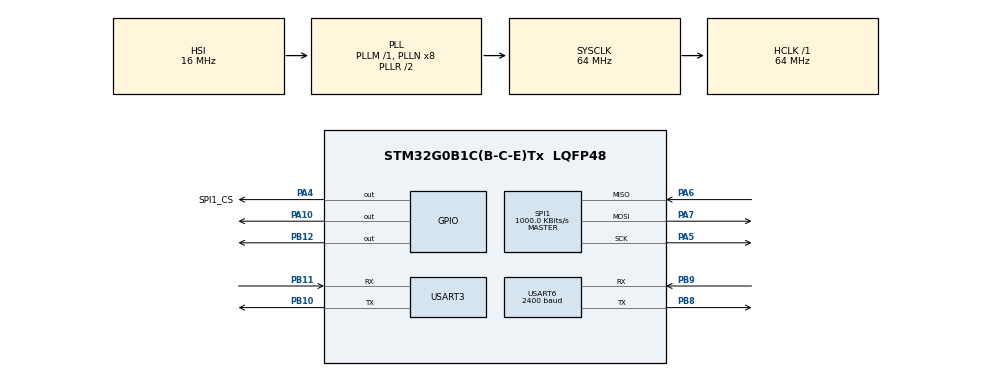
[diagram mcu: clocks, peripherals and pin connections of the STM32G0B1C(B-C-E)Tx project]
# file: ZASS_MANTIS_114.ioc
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Dma.Request0=USART6_RX
Dma.USART6_RX.0.Direction=DMA_PERIPH_TO_MEMORY
Dma.USART6_RX.0.EventEnable=DISABLE
Dma.USART6_RX.0.Instance=DMA1_Channel1
Dma.USART6_RX.0.MemDataAlignment=DMA_MDATAALIGN_BYTE
Dma.USART6_RX.0.MemInc=DMA_MINC_ENABLE
Dma.USART6_RX.0.Mode=DMA_CIRCULAR
Dma.USART6_RX.0.PeriphDataAlignment=DMA_PDATAALIGN_BYTE
Dma.USART6_RX.0.PeriphInc=DMA_PINC_DISABLE
Dma.USART6_RX.0.Polarity=HAL_DMAMUX_REQ_GEN_RISING
Dma.USART6_RX.0.Priority=DMA_PRIORITY_LOW
Dma.USART6_RX.0.RequestNumber=1
Dma.USART6_RX.0.SignalID=NONE
Dma.USART6_RX.0.SyncEnable=DISABLE
Dma.USART6_RX.0.SyncPolarity=HAL_DMAMUX_SYNC_NO_EVENT
Dma.USART6_RX.0.SyncRequestNumber=1
Dma.USART6_RX.0.SyncSignalID=NONE
FATFS._USE_LABEL=1
FATFS._USE_LFN=3
FREERTOS.Tasks01=defaultTask,24,256,StartDefaultTask,Default,NULL,Dynamic,NULL,NULL;myTask02,8,2048,StartTask02,Default,NULL,Dynamic,NULL,NULL
FREERTOS.configTOTAL_HEAP_SIZE=20480
Mcu.Family=STM32G0
Mcu.Name=STM32G0B1C(B-C-E)Tx
Mcu.Package=LQFP48
NVIC.DMA1_Channel1_IRQn=true\:3\:0\:false\:false\:true\:true\:false\:true\:true
NVIC.TIM2_IRQn=true\:3\:0\:false\:false\:true\:false\:false\:true\:true
NVIC.TimeBase=TIM2_IRQn
NVIC.TimeBaseIP=TIM2
NVIC.USART3_4_5_6_LPUART1_IRQn=true\:3\:0\:false\:false\:true\:true\:true\:true\:true
PA10.Signal=GPIO_Output
PA13.Mode=Serial_Wire
PA13.Signal=SYS_SWDIO
PA14-BOOT0.Mode=Serial_Wire
PA14-BOOT0.Signal=SYS_SWCLK
PA4.GPIO_Label=SPI1_CS
PA4.GPIO_Speed=GPIO_SPEED_FREQ_VERY_HIGH
PA4.Signal=GPIO_Output
PA5.GPIO_Speed=GPIO_SPEED_FREQ_VERY_HIGH
PA5.Mode=Full_Duplex_Master
PA5.Signal=SPI1_SCK
PA6.GPIO_Speed=GPIO_SPEED_FREQ_VERY_HIGH
PA6.Mode=Full_Duplex_Master
PA6.Signal=SPI1_MISO
PA7.GPIO_Speed=GPIO_SPEED_FREQ_VERY_HIGH
PA7.Mode=Full_Duplex_Master
PA7.Signal=SPI1_MOSI
PB10.Mode=Asynchronous
PB10.Signal=USART3_TX
PB11.Mode=Asynchronous
PB11.Signal=USART3_RX
PB12.Signal=GPIO_Output
PB8.Mode=Asynchronous
PB8.Signal=USART6_TX
PB9.Mode=Asynchronous
PB9.Signal=USART6_RX
PC14-OSC32_IN\ (PC14).Mode=LSE-External-Oscillator
PC14-OSC32_IN\ (PC14).Signal=RCC_OSC32_IN
PC15-OSC32_OUT\ (PC15).Mode=LSE-External-Oscillator
PC15-OSC32_OUT\ (PC15).Signal=RCC_OSC32_OUT
PF0-OSC_IN\ (PF0).Mode=HSE-External-Oscillator
PF0-OSC_IN\ (PF0).Signal=RCC_OSC_IN
PF1-OSC_OUT\ (PF1).Mode=HSE-External-Oscillator
PF1-OSC_OUT\ (PF1).Signal=RCC_OSC_OUT
ProjectManager.HeapSize=0x200
ProjectManager.StackSize=0x400
ProjectManager.TargetToolchain=STM32CubeIDE
RCC.ADCFreq_Value=64000000
RCC.AHBFreq_Value=64000000
RCC.CortexFreq_Value=64000000
RCC.EXTERNAL_CLOCK_VALUE=48000
RCC.HCLKFreq_Value=64000000
RCC.HSE_VALUE=24000000
RCC.HSI48_VALUE=48000000
RCC.HSI_VALUE=16000000
RCC.SYSCLKFreq_VALUE=64000000
RCC.SYSCLKSource=RCC_SYSCLKSOURCE_PLLCLK
RCC.USBFreq_Value=48000000
RCC.VCOOutputFreq_Value=128000000
SPI1.BaudRatePrescaler=SPI_BAUDRATEPRESCALER_64
SPI1.CalculateBaudRate=1000.0 KBits/s
SPI1.DataSize=SPI_DATASIZE_8BIT
SPI1.Direction=SPI_DIRECTION_2LINES
SPI1.Mode=SPI_MODE_MASTER
SPI1.VirtualType=VM_MASTER
USART3.VirtualMode-Asynchronous=VM_ASYNC
USART6.BaudRate=2400
USART6.SwapParam=ADVFEATURE_SWAP_DISABLE
USART6.VirtualMode-Asynchronous=VM_ASYNC
VP_FATFS_VS_Generic.Mode=User_defined
VP_FREERTOS_VS_CMSIS_V2.Mode=CMSIS_V2
VP_RTC_VS_RTC_Activate.Mode=RTC_Enabled
VP_SYS_VS_DBSignals.Mode=DisableDeadBatterySignals
VP_SYS_VS_tim2.Mode=TIM2
board=custom

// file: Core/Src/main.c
/* USER CODE BEGIN Header */
/**
  ******************************************************************************
  * @file           : main.c
  * @brief          : Main program body
  ******************************************************************************
  * @attention
  *
  * Copyright (c) 2026 STMicroelectronics.
  * All rights reserved.
  *
  * This software is licensed under terms that can be found in the LICENSE file
  * in the root directory of this software component.
  * If no LICENSE file comes with this software, it is provided AS-IS.
  *
  ******************************************************************************
  */
/* USER CODE END Header */
#include "main.h"
#include "cmsis_os.h"
#include "app_fatfs.h"

/* USER CODE BEGIN Includes */
#include "stdint.h"
#include "stdbool.h"
#include "string.h"

/* USER CODE END Includes */

/* USER CODE BEGIN PD */
#define BMS_VOLT_MIN 16.0f
#define BMS_VOLT_MAX 30.0f
volatile uint8_t  bms_data_ready;    /* yeni cozulmus veri var */
volatile uint8_t  bms_dump_ready;    /* yeni ham paket var (dump icin) */
volatile uint8_t  bms_data_valid;    /* en az bir GECERLI (sifir-olmayan) paket geldi */
volatile uint32_t bms_last_rx_ms;    /* son gecerli paketin HAL_GetTick() zamani */

/* USER CODE END PD */

RTC_HandleTypeDef hrtc;

SPI_HandleTypeDef hspi1;

UART_HandleTypeDef huart3;
UART_HandleTypeDef huart6;
DMA_HandleTypeDef hdma_usart6_rx;

/* Definitions for defaultTask */
osThreadId_t defaultTaskHandle;
const osThreadAttr_t defaultTask_attributes = {
  .name = "defaultTask",
  .priority = (osPriority_t) osPriorityNormal,
  .stack_size = 256 * 4
};
/* Definitions for myTask02 */
osThreadId_t myTask02Handle;
const osThreadAttr_t myTask02_attributes = {
  .name = "myTask02",
  .priority = (osPriority_t) osPriorityLow,
  .stack_size = 2048 * 4
};
/* USER CODE BEGIN PV */
RTC_DateTypeDef sDate;
RTC_TimeTypeDef sTime;
/* USER CODE END PV */

void SystemClock_Config(void);
static void MX_GPIO_Init(void);
static void MX_DMA_Init(void);
static void MX_SPI1_Init(void);
static void MX_RTC_Init(void);
static void MX_USART3_UART_Init(void);
static void MX_USART6_UART_Init(void);
void StartDefaultTask(void *argument);
void StartTask02(void *argument);

/* USER CODE BEGIN PFP */
// JK BMS "Tüm Verileri Oku" sihirli dizisi

/* USER CODE END PFP */

/* USER CODE BEGIN 0 */
/* USER CODE BEGIN PTD */
// JK BMS'den gelen anlamlı verileri tutacağımız yapı (Struct)
void battery_screen_task(void);

// Durum makinesi (State Machine) adımları
typedef enum {
    WAIT_A5, WAIT_5A, WAIT_5D, WAIT_82, WAIT_10, WAIT_00, RECEIVE_PAYLOAD
} BMS_State;
/* USER CODE END PTD */

/* USER CODE BEGIN PV */
uint16_t BMS = 0;
#define RX_BUF_SIZE 256
uint8_t dma_rx_buf[RX_BUF_SIZE];
#define BMS_PAYLOAD_LENGTH 90
float gercek_akim;
uint16_t CurentCounter ;
uint8_t isFirstStart = 0;
JK_BMS_Data my_bms;              // Her yerden erişebileceğimiz asıl BMS verimiz
BMS_State bms_state = WAIT_A5;   // Başlangıç durumu

uint8_t rx_byte;                 // Anlık okunan 1 byte
uint8_t bms_payload[BMS_PAYLOAD_LENGTH]; // Yakalanan 90 bytelık ana veri
uint16_t payload_index = 0;
volatile uint8_t bms_data_ready = 0;     // Ana döngüye haber verecek bayrak
uint8_t x;
uint8_t dma_raw_buffer[256]; // DMA'nın ham veri karalama defteri
   // Asla kaymayan, jilet gibi sabit dizimiz
volatile uint8_t packet_count = 0; // Kaç tane sağlam paket yakaladık (Debug için)
/* USER CODE END 0 */

int main(void)
{

  /* MCU Configuration--------------------------------------------------------*/

  /* Reset of all peripherals, Initializes the Flash interface and the Systick. */
  HAL_Init();

  /* Configure the system clock */
  SystemClock_Config();

  /* Initialize all configured peripherals */
  MX_GPIO_Init();
  MX_DMA_Init();
  MX_SPI1_Init();
  MX_RTC_Init();
  if (MX_FATFS_Init() != APP_OK) {
    Error_Handler();
  }
  MX_USART3_UART_Init();
  MX_USART6_UART_Init();
  /* USER CODE BEGIN 2 */
  // HAL_UART_Receive_IT(&huart6, &rx_byte, 1);
  HAL_GPIO_WritePin(GPIOA, GPIO_PIN_10, RESET);
// UART Idle kesmesini başlat
  HAL_UARTEx_ReceiveToIdle_DMA(&huart6, dma_raw_buffer, 256);
  __HAL_DMA_DISABLE_IT(huart6.hdmarx, DMA_IT_HT);
  /* USER CODE END 2 */

  /* Init scheduler */
  osKernelInitialize();

  /* Create the thread(s) */
  /* creation of defaultTask */
  defaultTaskHandle = osThreadNew(StartDefaultTask, NULL, &defaultTask_attributes);

  /* creation of myTask02 */
  myTask02Handle = osThreadNew(StartTask02, NULL, &myTask02_attributes);

  /* Start scheduler */
  osKernelStart();

  /* We should never get here as control is now taken by the scheduler */

  /* Infinite loop */
  while (1)
  {

    /* USER CODE BEGIN 3 */
	  // 1. Buffer'ı temizle
	  // Komutu hatta gönder (6 byte)

  }
  /* USER CODE END 3 */
}

void SystemClock_Config(void)
{
  RCC_OscInitTypeDef RCC_OscInitStruct = {0};
  RCC_ClkInitTypeDef RCC_ClkInitStruct = {0};

  /** Configure the main internal regulator output voltage
  */
  HAL_PWREx_ControlVoltageScaling(PWR_REGULATOR_VOLTAGE_SCALE1);

  /** Initializes the RCC Oscillators according to the specified parameters
  * in the RCC_OscInitTypeDef structure.
  */
  RCC_OscInitStruct.OscillatorType = RCC_OSCILLATORTYPE_HSI|RCC_OSCILLATORTYPE_LSI;
  RCC_OscInitStruct.HSIState = RCC_HSI_ON;
  RCC_OscInitStruct.HSIDiv = RCC_HSI_DIV1;
  RCC_OscInitStruct.HSICalibrationValue = RCC_HSICALIBRATION_DEFAULT;
  RCC_OscInitStruct.LSIState = RCC_LSI_ON;
  RCC_OscInitStruct.PLL.PLLState = RCC_PLL_ON;
  RCC_OscInitStruct.PLL.PLLSource = RCC_PLLSOURCE_HSI;
  RCC_OscInitStruct.PLL.PLLM = RCC_PLLM_DIV1;
  RCC_OscInitStruct.PLL.PLLN = 8;
  RCC_OscInitStruct.PLL.PLLP = RCC_PLLP_DIV2;
  RCC_OscInitStruct.PLL.PLLQ = RCC_PLLQ_DIV2;
  RCC_OscInitStruct.PLL.PLLR = RCC_PLLR_DIV2;
  if (HAL_RCC_OscConfig(&RCC_OscInitStruct) != HAL_OK)
  {
    Error_Handler();
  }

  /** Initializes the CPU, AHB and APB buses clocks
  */
  RCC_ClkInitStruct.ClockType = RCC_CLOCKTYPE_HCLK|RCC_CLOCKTYPE_SYSCLK
                              |RCC_CLOCKTYPE_PCLK1;
  RCC_ClkInitStruct.SYSCLKSource = RCC_SYSCLKSOURCE_PLLCLK;
  RCC_ClkInitStruct.AHBCLKDivider = RCC_SYSCLK_DIV1;
  RCC_ClkInitStruct.APB1CLKDivider = RCC_HCLK_DIV1;

  if (HAL_RCC_ClockConfig(&RCC_ClkInitStruct, FLASH_LATENCY_2) != HAL_OK)
  {
    Error_Handler();
  }
}

static void MX_RTC_Init(void)
{

  /** Initialize RTC Only
  */
  hrtc.Instance = RTC;
  hrtc.Init.HourFormat = RTC_HOURFORMAT_24;
  hrtc.Init.AsynchPrediv = 127;
  hrtc.Init.SynchPrediv = 255;
  hrtc.Init.OutPut = RTC_OUTPUT_DISABLE;
  hrtc.Init.OutPutRemap = RTC_OUTPUT_REMAP_NONE;
  hrtc.Init.OutPutPolarity = RTC_OUTPUT_POLARITY_HIGH;
  hrtc.Init.OutPutType = RTC_OUTPUT_TYPE_OPENDRAIN;
  hrtc.Init.OutPutPullUp = RTC_OUTPUT_PULLUP_NONE;
  if (HAL_RTC_Init(&hrtc) != HAL_OK)
  {
    Error_Handler();
  }
  /* USER CODE BEGIN RTC_Init 2 */
  /* USER CODE BEGIN RTC_Init 2 */

    // Yedekleme register'ını kontrol et.
    // Eğer daha önce 0x32F2 (rastgele seçilmiş bir imza) yazılmamışsa, saat hiç ayarlanmamış demektir.
    if (HAL_RTCEx_BKUPRead(&hrtc, RTC_BKP_DR1) != 0x32F4)
    {
        // 1. SAAT AYARI (Örnek: 14:30:00)
        sTime.Hours = 15;
        sTime.Minutes = 10;
        sTime.Seconds = 0;
        sTime.DayLightSaving = RTC_DAYLIGHTSAVING_NONE;
        sTime.StoreOperation = RTC_STOREOPERATION_RESET;

        // RTC_FORMAT_BIN kullanıyoruz çünkü sayıları direkt onluk tabanda (14, 30 vb.) yazdık.
        if (HAL_RTC_SetTime(&hrtc, &sTime, RTC_FORMAT_BIN) != HAL_OK)
        {
            Error_Handler();
        }

        // 2. TARİH AYARI (Örnek: 21 Nisan 2026, Salı)
        sDate.WeekDay = RTC_WEEKDAY_TUESDAY;
        sDate.Month = RTC_MONTH_JUNE;
        sDate.Date = 19;
        sDate.Year = 26; // 2026'nın 26'sı

        if (HAL_RTC_SetDate(&hrtc, &sDate, RTC_FORMAT_BIN) != HAL_OK)
        {
            Error_Handler();
        }

        // 3. İMZAYI YAZ
        // Saat başarıyla ayarlandı. Artık Vbat (pil) bitene kadar bu if bloğuna bir daha girmeyecek.
        HAL_RTCEx_BKUPWrite(&hrtc, RTC_BKP_DR1, 0x32F4);
    }
  /* USER CODE END RTC_Init 2 */

}

static void MX_SPI1_Init(void)
{

  /* SPI1 parameter configuration*/
  hspi1.Instance = SPI1;
  hspi1.Init.Mode = SPI_MODE_MASTER;
  hspi1.Init.Direction = SPI_DIRECTION_2LINES;
  hspi1.Init.DataSize = SPI_DATASIZE_8BIT;
  hspi1.Init.CLKPolarity = SPI_POLARITY_LOW;
  hspi1.Init.CLKPhase = SPI_PHASE_1EDGE;
  hspi1.Init.NSS = SPI_NSS_SOFT;
  hspi1.Init.BaudRatePrescaler = SPI_BAUDRATEPRESCALER_64;
  hspi1.Init.FirstBit = SPI_FIRSTBIT_MSB;
  hspi1.Init.TIMode = SPI_TIMODE_DISABLE;
  hspi1.Init.CRCCalculation = SPI_CRCCALCULATION_DISABLE;
  hspi1.Init.CRCPolynomial = 7;
  hspi1.Init.CRCLength = SPI_CRC_LENGTH_DATASIZE;
  hspi1.Init.NSSPMode = SPI_NSS_PULSE_ENABLE;
  if (HAL_SPI_Init(&hspi1) != HAL_OK)
  {
    Error_Handler();
  }

}

static void MX_USART3_UART_Init(void)
{

  huart3.Instance = USART3;
  huart3.Init.BaudRate = 115200;
  huart3.Init.WordLength = UART_WORDLENGTH_8B;
  huart3.Init.StopBits = UART_STOPBITS_1;
  huart3.Init.Parity = UART_PARITY_NONE;
  huart3.Init.Mode = UART_MODE_TX_RX;
  huart3.Init.HwFlowCtl = UART_HWCONTROL_NONE;
  huart3.Init.OverSampling = UART_OVERSAMPLING_16;
  huart3.Init.OneBitSampling = UART_ONE_BIT_SAMPLE_DISABLE;
  huart3.Init.ClockPrescaler = UART_PRESCALER_DIV1;
  huart3.AdvancedInit.AdvFeatureInit = UART_ADVFEATURE_NO_INIT;
  if (HAL_UART_Init(&huart3) != HAL_OK)
  {
    Error_Handler();
  }
  if (HAL_UARTEx_SetTxFifoThreshold(&huart3, UART_TXFIFO_THRESHOLD_1_8) != HAL_OK)
  {
    Error_Handler();
  }
  if (HAL_UARTEx_SetRxFifoThreshold(&huart3, UART_RXFIFO_THRESHOLD_1_8) != HAL_OK)
  {
    Error_Handler();
  }
  if (HAL_UARTEx_DisableFifoMode(&huart3) != HAL_OK)
  {
    Error_Handler();
  }

}

static void MX_USART6_UART_Init(void)
{

  huart6.Instance = USART6;
  huart6.Init.BaudRate = 2400;
  huart6.Init.WordLength = UART_WORDLENGTH_8B;
  huart6.Init.StopBits = UART_STOPBITS_1;
  huart6.Init.Parity = UART_PARITY_NONE;
  huart6.Init.Mode = UART_MODE_TX_RX;
  huart6.Init.HwFlowCtl = UART_HWCONTROL_NONE;
  huart6.Init.OverSampling = UART_OVERSAMPLING_16;
  huart6.Init.OneBitSampling = UART_ONE_BIT_SAMPLE_DISABLE;
  huart6.Init.ClockPrescaler = UART_PRESCALER_DIV1;
  huart6.AdvancedInit.AdvFeatureInit = UART_ADVFEATURE_NO_INIT;
  if (HAL_UART_Init(&huart6) != HAL_OK)
  {
    Error_Handler();
  }

}

static void MX_DMA_Init(void)
{

  /* DMA controller clock enable */
  __HAL_RCC_DMA1_CLK_ENABLE();

  /* DMA interrupt init */
  /* DMA1_Channel1_IRQn interrupt configuration */
  HAL_NVIC_SetPriority(DMA1_Channel1_IRQn, 3, 0);
  HAL_NVIC_EnableIRQ(DMA1_Channel1_IRQn);

}

static void MX_GPIO_Init(void)
{
  GPIO_InitTypeDef GPIO_InitStruct = {0};

  /* GPIO Ports Clock Enable */
  __HAL_RCC_GPIOC_CLK_ENABLE();
  __HAL_RCC_GPIOF_CLK_ENABLE();
  __HAL_RCC_GPIOA_CLK_ENABLE();
  __HAL_RCC_GPIOB_CLK_ENABLE();

  /*Configure GPIO pin Output Level */
  HAL_GPIO_WritePin(GPIOA, SPI1_CS_Pin|GPIO_PIN_10, GPIO_PIN_RESET);

  /*Configure GPIO pin Output Level */
  HAL_GPIO_WritePin(GPIOB, GPIO_PIN_12, GPIO_PIN_RESET);

  /*Configure GPIO pin : SPI1_CS_Pin */
  GPIO_InitStruct.Pin = SPI1_CS_Pin;
  GPIO_InitStruct.Mode = GPIO_MODE_OUTPUT_PP;
  GPIO_InitStruct.Pull = GPIO_NOPULL;
  GPIO_InitStruct.Speed = GPIO_SPEED_FREQ_VERY_HIGH;
  HAL_GPIO_Init(SPI1_CS_GPIO_Port, &GPIO_InitStruct);

  /*Configure GPIO pin : PB12 */
  GPIO_InitStruct.Pin = GPIO_PIN_12;
  GPIO_InitStruct.Mode = GPIO_MODE_OUTPUT_PP;
  GPIO_InitStruct.Pull = GPIO_NOPULL;
  GPIO_InitStruct.Speed = GPIO_SPEED_FREQ_LOW;
  HAL_GPIO_Init(GPIOB, &GPIO_InitStruct);

  /*Configure GPIO pin : PA10 */
  GPIO_InitStruct.Pin = GPIO_PIN_10;
  GPIO_InitStruct.Mode = GPIO_MODE_OUTPUT_PP;
  GPIO_InitStruct.Pull = GPIO_NOPULL;
  GPIO_InitStruct.Speed = GPIO_SPEED_FREQ_LOW;
  HAL_GPIO_Init(GPIOA, &GPIO_InitStruct);

}

/* USER CODE BEGIN 4 */
/*void BMS_Mesajini_Coz(void) {
    my_bms.battery_volts   = (float)((bms_payload[0] << 8) | bms_payload[1]) / 100.0;
    my_bms.battery_current = (int16_t)((bms_payload[2] << 8) | bms_payload[3]);
    my_bms.soc             = (bms_payload[6] << 8) | bms_payload[7];
    my_bms.cell_delta      = (bms_payload[8] << 8) | bms_payload[9];
    my_bms.mos_temp        = (int16_t)((bms_payload[10] << 8) | bms_payload[11]);
    my_bms.batt_temp       = (int16_t)((bms_payload[12] << 8) | bms_payload[13]);
    my_bms.warning         = (bms_payload[14] << 8) | bms_payload[15];
    my_bms.ave_cell_volt   = (bms_payload[16] << 8) | bms_payload[17];
    my_bms.balance_status  = (bms_payload[18] << 8) | bms_payload[19];
    my_bms.charge_mos      = (bms_payload[20] << 8) | bms_payload[21];
    my_bms.discharge_mos   = (bms_payload[22] << 8) | bms_payload[23];

    // İlk 8 hücrenin voltajını okuma (Kendi hücre sayına göre artırabilirsin)
    for (int i = 0; i < 8; i++) {
        uint16_t cell_index = 24 + (i * 2);
        my_bms.cell_volts[i] = (bms_payload[cell_index] << 8) | bms_payload[cell_index + 1];
    }
}*/
void BMS_Mesajini_Coz(uint16_t header_index) {

    // Asıl veriler (payload) başlıktan 6 byte sonra başlıyor
    // Eski kodundaki 0. index, artık p + 0 anlamına gelecek.
    uint16_t p = header_index + 6;

    my_bms.battery_volts   = (float)((dma_raw_buffer[p + 0] << 8) | dma_raw_buffer[p + 1]) / 100.0f;
    my_bms.battery_current = (int16_t)((dma_raw_buffer[p + 2] << 8) | dma_raw_buffer[p + 3]);
    my_bms.soc             = (dma_raw_buffer[p + 6] << 8) | dma_raw_buffer[p + 7];
    my_bms.cell_delta      = (dma_raw_buffer[p + 8] << 8) | dma_raw_buffer[p + 9];
    my_bms.mos_temp        = (int16_t)((dma_raw_buffer[p + 10] << 8) | dma_raw_buffer[p + 11]);
    my_bms.batt_temp       = (int16_t)((dma_raw_buffer[p + 12] << 8) | dma_raw_buffer[p + 13]);
    my_bms.warning         = (dma_raw_buffer[p + 14] << 8) | dma_raw_buffer[p + 15];
    my_bms.ave_cell_volt   = (dma_raw_buffer[p + 16] << 8) | dma_raw_buffer[p + 17];
    my_bms.balance_status  = (dma_raw_buffer[p + 18] << 8) | dma_raw_buffer[p + 19];
    my_bms.charge_mos      = (dma_raw_buffer[p + 20] << 8) | dma_raw_buffer[p + 21];
    my_bms.discharge_mos   = (dma_raw_buffer[p + 22] << 8) | dma_raw_buffer[p + 23];

    // İlk 8 hücrenin voltajını okuma
    for (int i = 0; i < 8; i++) {
        uint16_t cell_index = p + 24 + (i * 2);
        my_bms.cell_volts[i] = (dma_raw_buffer[cell_index] << 8) | dma_raw_buffer[cell_index + 1];
    }
}

void HAL_UARTEx_RxEventCallback(UART_HandleTypeDef *huart, uint16_t Size)
{
    if (huart->Instance == USART6)
    {
        for (int i = 0; i <= (Size - 96); i++)
        {
            if (dma_raw_buffer[i] == 0xA5 &&
                dma_raw_buffer[i+1] == 0x5A &&
                dma_raw_buffer[i+2] == 0x5D &&
                dma_raw_buffer[i+3] == 0x82)
            {
                // BİNGO! Başlığı bulduk.
                // Tek yapmamız gereken "i" (başlangıç indexi) değerini fonksiyonumuza göndermek.
                BMS_Mesajini_Coz(i);

                bms_data_ready = 1; // Ana döngüye haber ver
                bms_last_rx_ms = HAL_GetTick();   // <-- SADECE BU SATIRI EKLE (mesaj geldi -> zaman damgası)
                break;
            }
        }

        // Yeniden dinlemeyi kur
        HAL_UART_AbortReceive(huart);
        HAL_UARTEx_ReceiveToIdle_DMA(huart, dma_raw_buffer, 256);
        __HAL_DMA_DISABLE_IT(huart->hdmarx, DMA_IT_HT);
    }
}

// Hata olursa kilitlenmeyi çözen kurtarıcı
void HAL_UART_ErrorCallback(UART_HandleTypeDef *huart)
{
    if (huart->Instance == USART6)
    {
        __HAL_UART_CLEAR_OREFLAG(huart);
        __HAL_UART_CLEAR_NEFLAG(huart);
        __HAL_UART_CLEAR_FEFLAG(huart);

        HAL_UART_AbortReceive(huart);
        HAL_UARTEx_ReceiveToIdle_DMA(huart, dma_raw_buffer, 256);
        __HAL_DMA_DISABLE_IT(huart->hdmarx, DMA_IT_HT);
    }
}
void DWIN_Ekrana_Yaz_RTOS(uint16_t vp_address, uint16_t value) {
    uint8_t dwin_frame[8];
    dwin_frame[0] = 0x5A;
    dwin_frame[1] = 0xA5;
    dwin_frame[2] = 0x05;
    dwin_frame[3] = 0x82;
    dwin_frame[4] = (vp_address >> 8);
    dwin_frame[5] = (vp_address & 0xFF);
    dwin_frame[6] = (value >> 8);
    dwin_frame[7] = (value & 0xFF);

    HAL_UART_Transmit(&huart3, dwin_frame, 8, 100);

    // RTOS'ta bu görev uyurken diğer görevler (SD Kart, CAN) çalışmaya devam eder
    osDelay(5); // CMSIS-RTOS kullanıyorsan osDelay, saf FreeRTOS ise vTaskDelay(pdMS_TO_TICKS(5))
}
void DWIN_Float_Yaz(uint16_t vp_address, float value) {
    uint8_t dwin_frame[10]; // Float için paket daha uzundur (10 byte)

    dwin_frame[0] = 0x5A;
    dwin_frame[1] = 0xA5;
    dwin_frame[2] = 0x07; // Uzunluk: Komut(1) + Adres(2) + Float Veri(4) = 7
    dwin_frame[3] = 0x82; // Yazma Komutu

    dwin_frame[4] = (vp_address >> 8);  // VP Adres High
    dwin_frame[5] = (vp_address & 0xFF);// VP Adres Low

    // Sihirli Kısım: Float değişkenini RAM'de byte byte parçalıyoruz
    uint8_t *float_bytes = (uint8_t *)&value;

    // STM32 (Little-Endian) -> DWIN (Big-Endian) dönüşümü için ters sıralıyoruz
    dwin_frame[6] = float_bytes[3];
    dwin_frame[7] = float_bytes[2];
    dwin_frame[8] = float_bytes[1];
    dwin_frame[9] = float_bytes[0];

    HAL_UART_Transmit(&huart3, dwin_frame, 10, 100);
}
/* Cozulen paket makul mu? (sifir / cop paketleri ele) */
static uint8_t bms_frame_plausible(void)
{
    if (my_bms.battery_volts < BMS_VOLT_MIN) return 0;  /* 0 dahil mantiksiz */
    if (my_bms.battery_volts > BMS_VOLT_MAX) return 0;
    return 1;
}

uint8_t BMS_IsReady(void)
{
    if (!bms_data_ready) return 0;
    return ((HAL_GetTick() - bms_last_rx_ms) <= 3000) ? 1 : 0;
}

void BMS_Buzzer_Update(void)
{
    /* 1) Henuz gecerli veri yok VEYA veri bayatladi -> KESIN SUS */
    if (!BMS_IsReady()) {
        HAL_GPIO_WritePin(GPIOA, GPIO_PIN_10, GPIO_PIN_RESET);
        return;
    }
    /* 2) Gercek alarm varsa ot, yoksa sus */
    if (my_bms.warning != 0 || my_bms.soc <= 20){

        HAL_GPIO_WritePin(GPIOA, GPIO_PIN_10, GPIO_PIN_SET);
        CurentCounter = 0;

        if(my_bms.soc <= 20 && my_bms.battery_current >=1){
        	CurentCounter++;

        			if(CurentCounter >=30){
        				HAL_GPIO_WritePin(GPIOA, GPIO_PIN_10, RESET);
        			}

        	HAL_GPIO_WritePin(GPIOA, GPIO_PIN_10, GPIO_PIN_RESET);
        }
    }
    else
        HAL_GPIO_WritePin(GPIOA, GPIO_PIN_10, GPIO_PIN_RESET);
}

/* USER CODE END 4 */

void StartDefaultTask(void *argument)
{
  /* USER CODE BEGIN 5 */
  /* Infinite loop */
  for(;;)
  {

	  x++;
	  HAL_GPIO_TogglePin(GPIOB, GPIO_PIN_12);
	  // 1. ADIM: 36 Byte'lık paketi UART6 üzerinden gönder
	  //
	 /* // Eğer kesme fonksiyonu tam bir 0x1000 paketini başarıyla aldıysa:
	  if (bms_data_ready == 1) {

	            bms_data_ready = 0; // Bayrağı hemen indir

	            // Ham byte dizisini float ve int değerlerine çevir
	            BMS_Mesajini_Coz();

	            // -> TEBRİKLER! VERİLER HAZIR <-
	            // Debug modunda "my_bms" struct'ını izlemeye al.
	            // my_bms.battery_volts 26.33 vb. değerleri canlı göreceksin.
	        }*/
	  // SoC - 0x1000
	             // DWIN_Ekrana_Yaz_RTOS(0x1000, my_bms.soc);

	              // Voltaj - 0x1060 (26.33V -> 263 gönderiyoruz)
	        //      DWIN_Float_Yaz(0x1060, my_bms.battery_volts);

	              // Akım - 0x1080
	           //   float gercek_akim = (float)my_bms.battery_current / 10.0f ;
	                        // Not: BMS akımı 100 katı veriyorsa burayı 100.0f yapmalısın.
	           //             DWIN_Float_Yaz(0x1080, gercek_akim);

	              // Sıcaklıklar
	           //   DWIN_Ekrana_Yaz_RTOS(0x1020, (uint16_t)my_bms.mos_temp);
	     //         DWIN_Ekrana_Yaz_RTOS(0x1040, (uint16_t)my_bms.batt_temp);
	       //       SOC_Bar_Guncelle(gercek_akim, my_bms.soc);
	  DWIN_Float_Yaz(0x1060, my_bms.battery_volts);          // voltaj (senin)
	      float gercek_akim = (float)my_bms.battery_current / 10.0f;
	      DWIN_Float_Yaz(0x1080, gercek_akim);                   // akim (senin)
	      Akim_Renk_Guncelle(gercek_akim);
	      DWIN_Ekrana_Yaz_RTOS(0x1020, (uint16_t)my_bms.mos_temp);
	      DWIN_Ekrana_Yaz_RTOS(0x1040, (uint16_t)my_bms.batt_temp);
	      Sicaklik_Renk_Guncelle(my_bms.mos_temp, my_bms.batt_temp);
	      Akim_Renk_Guncelle(gercek_akim);
	      if (HAL_GetTick() - bms_last_rx_ms > 3000) {
	               bms_data_ready = 0;
	           }

	      if (BMS_IsReady()) {
	          BMS_Buzzer_Update();
	      }

	      SOC_Bar_Guncelle(my_bms.soc, gercek_akim);             // <-- EKLE: SOC+bar+durum+renk
    osDelay(100);
  }
  /* USER CODE END 5 */
}

void StartTask02(void *argument)
{
  /* USER CODE BEGIN StartTask02 */
  /* Infinite loop */
  for(;;)
  {
	SD_Log_Process();
	//  HAL_GPIO_WritePin(GPIOA, GPIO_PIN_12, SET);

    osDelay(1000);
  }
  /* USER CODE END StartTask02 */
}

void HAL_TIM_PeriodElapsedCallback(TIM_HandleTypeDef *htim)
{
  if (htim->Instance == TIM2)
  {
    HAL_IncTick();
  }
}

void Error_Handler(void)
{
  __disable_irq();
  while (1)
  {
  }
}
